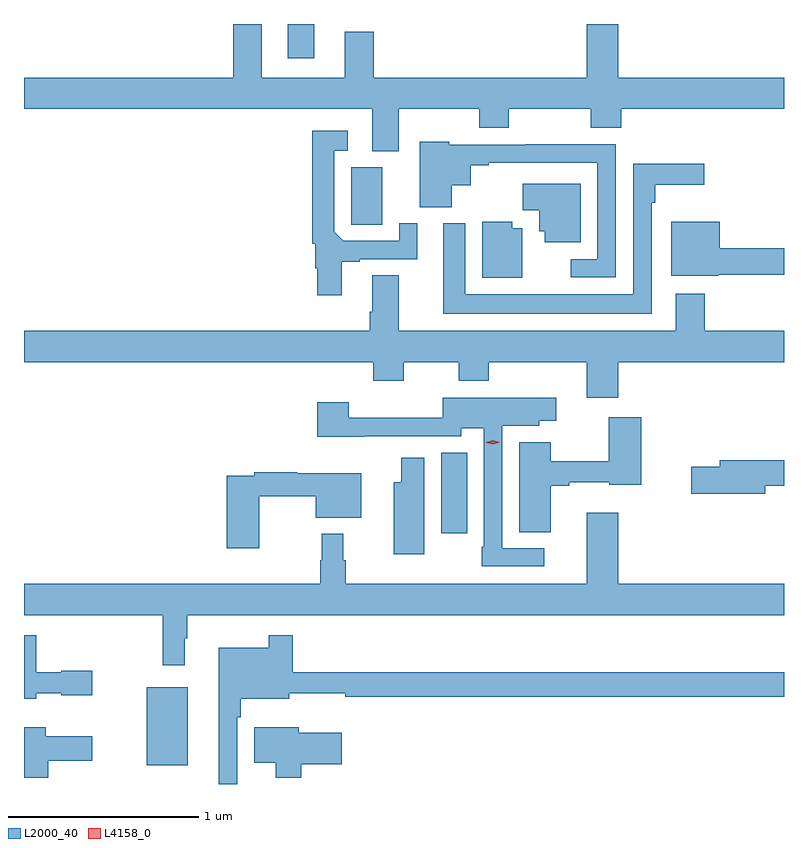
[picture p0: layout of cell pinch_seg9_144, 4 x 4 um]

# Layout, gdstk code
import gdstk
lib = gdstk.Library(unit=1e-6, precision=1e-09)
def R(c, l, rs):  # rectangles x0, y0, x1, y1
    for r in rs: c.add(gdstk.rectangle(r[:2], r[2:], *l))
def P(c, l, *ps):  # polygons
    for p in ps: c.add(gdstk.Polygon(p, *l))
L2000_40 = (2000, 40)
L4158_0 = (4158, 0)

pinch_seg9_144 = lib.new_cell('pinch_seg9_144')
R(pinch_seg9_144, L2000_40, [(642.212,1219.607,642.427,1220.017), (643.76,1220.826,643.897,1221.251), (643.287,1222.45,643.45,1222.752), (642.953,1223.328,643.093,1223.507)])
P(pinch_seg9_144, L2000_40, [(643.537,1223.06),(643.96,1223.06),(643.96,1222.961),(644.115,1222.961),(644.115,1223.06),(644.548,1223.06),(644.548,1222.961),(644.708,1222.961),(644.708,1223.06),(645.565,1223.06),(645.565,1223.224),(644.692,1223.224),(644.692,1223.507),(644.528,1223.507),(644.528,1223.224),(643.406,1223.224),(643.406,1223.467),(643.253,1223.467),(643.253,1223.224),(642.817,1223.224),(642.817,1223.507),(642.665,1223.507),(642.665,1223.224),(641.565,1223.224),(641.565,1223.06),(643.397,1223.06),(643.397,1222.837),(643.537,1222.837)],
  [(643.237,1222.257),(643.333,1222.257),(643.333,1222.269),(643.636,1222.269),(643.636,1222.459),(643.539,1222.459),(643.539,1222.365),(643.245,1222.365),(643.197,1222.413),(643.197,1222.839),(643.27,1222.839),(643.27,1222.945),(643.081,1222.945),(643.081,1222.35),(643.098,1222.35),(643.098,1222.221),(643.109,1222.221),(643.109,1222.08),(643.237,1222.08)],
  [(644.679,1222.874),(644.203,1222.874),(644.203,1222.872),(643.803,1222.872),(643.803,1222.888),(643.649,1222.888),(643.649,1222.543),(643.815,1222.543),(643.815,1222.658),(643.915,1222.658),(643.915,1222.764),(644.011,1222.764),(644.011,1222.776),(644.583,1222.776),(644.583,1222.269),(644.442,1222.269),(644.442,1222.173),(644.679,1222.173)],
  [(644.868,1222.565),(644.888,1222.565),(644.888,1222.661),(645.145,1222.661),(645.145,1222.771),(644.772,1222.771),(644.772,1222.084),(643.888,1222.084),(643.888,1222.458),(643.772,1222.458),(643.772,1221.983),(644.868,1221.983)],
  [(644.494,1222.666),(644.19,1222.666),(644.19,1222.526),(644.276,1222.526),(644.276,1222.415),(644.306,1222.415),(644.306,1222.358),(644.494,1222.358)],
  [(644.188,1222.432),(644.134,1222.432),(644.134,1222.465),(643.976,1222.465),(643.976,1222.172),(644.188,1222.172)],
  [(645.222,1222.186),(645.565,1222.186),(645.565,1222.328),(645.226,1222.328),(645.226,1222.465),(644.972,1222.465),(644.972,1222.181),(645.222,1222.181)],
  [(644.692,1221.728),(645.565,1221.728),(645.565,1221.892),(645.149,1221.892),(645.149,1222.087),(644.996,1222.087),(644.996,1221.892),(643.537,1221.892),(643.537,1222.184),(643.397,1222.184),(643.397,1221.992),(643.385,1221.992),(643.385,1221.892),(641.565,1221.892),(641.565,1221.728),(643.403,1221.728),(643.403,1221.629),(643.563,1221.629),(643.563,1221.728),(643.852,1221.728),(643.852,1221.629),(644.012,1221.629),(644.012,1221.728),(644.528,1221.728),(644.528,1221.54),(644.692,1221.54)],
  [(644.302,1220.748),(644.082,1220.748),(644.082,1221.392),(644.277,1221.392),(644.277,1221.419),(644.365,1221.419),(644.365,1221.541),(643.77,1221.541),(643.77,1221.434),(643.274,1221.434),(643.274,1221.517),(643.109,1221.517),(643.109,1221.335),(643.357,1221.335),(643.357,1221.336),(643.866,1221.336),(643.866,1221.38),(643.986,1221.38),(643.986,1220.755),(643.974,1220.755),(643.974,1220.652),(644.302,1220.652)],
  [(644.338,1221.076),(644.434,1221.076),(644.434,1221.095),(644.646,1221.095),(644.646,1221.083),(644.813,1221.083),(644.813,1221.436),(644.642,1221.436),(644.642,1221.205),(644.338,1221.205),(644.338,1221.307),(644.171,1221.307),(644.171,1220.833),(644.338,1220.833)],
  [(643.672,1221.223),(643.55,1221.223),(643.55,1221.094),(643.511,1221.094),(643.511,1220.717),(643.672,1220.717)],
  [(645.466,1221.076),(645.565,1221.076),(645.565,1221.212),(645.227,1221.212),(645.227,1221.176),(645.078,1221.176),(645.078,1221.034),(645.466,1221.034)],
  [(642.802,1221.021),(643.1,1221.021),(643.1,1220.909),(643.339,1220.909),(643.339,1221.142),(643.004,1221.142),(643.004,1221.149),(642.778,1221.149),(642.778,1221.129),(642.632,1221.129),(642.632,1220.748),(642.802,1220.748)],
  [(641.565,1220.396),(642.295,1220.396),(642.295,1220.133),(642.412,1220.133),(642.412,1220.273),(642.424,1220.273),(642.424,1220.396),(645.565,1220.396),(645.565,1220.56),(644.692,1220.56),(644.692,1220.935),(644.528,1220.935),(644.528,1220.56),(643.259,1220.56),(643.259,1220.684),(643.244,1220.684),(643.244,1220.824),(643.131,1220.824),(643.131,1220.684),(643.123,1220.684),(643.123,1220.56),(641.565,1220.56)],
  [(641.629,1219.985),(641.76,1219.985),(641.76,1219.973),(641.923,1219.973),(641.923,1220.103),(641.76,1220.103),(641.76,1220.095),(641.629,1220.095),(641.629,1220.29),(641.565,1220.29),(641.565,1219.955),(641.629,1219.955)],
  [(642.687,1219.859),(642.707,1219.859),(642.707,1219.955),(642.961,1219.955),(642.961,1219.985),(643.257,1219.985),(643.257,1219.966),(645.565,1219.966),(645.565,1220.095),(642.98,1220.095),(642.98,1220.29),(642.852,1220.29),(642.852,1220.224),(642.59,1220.224),(642.59,1219.507),(642.687,1219.507)],
  [(643.025,1219.612),(643.237,1219.612),(643.237,1219.777),(643.012,1219.777),(643.012,1219.807),(642.776,1219.807),(642.776,1219.619),(642.89,1219.619),(642.89,1219.541),(643.025,1219.541)],
  [(641.693,1219.63),(641.923,1219.63),(641.923,1219.759),(641.68,1219.759),(641.68,1219.807),(641.565,1219.807),(641.565,1219.541),(641.693,1219.541)])
P(pinch_seg9_144, L4158_0, [(644.034,1221.296),(643.999,1221.304),(643.999,1221.305),(643.999,1221.305),(644.033,1221.316),(644.068,1221.307),(644.069,1221.307),(644.068,1221.306)])

lib.write_gds('pinch_seg9_144.gds')
